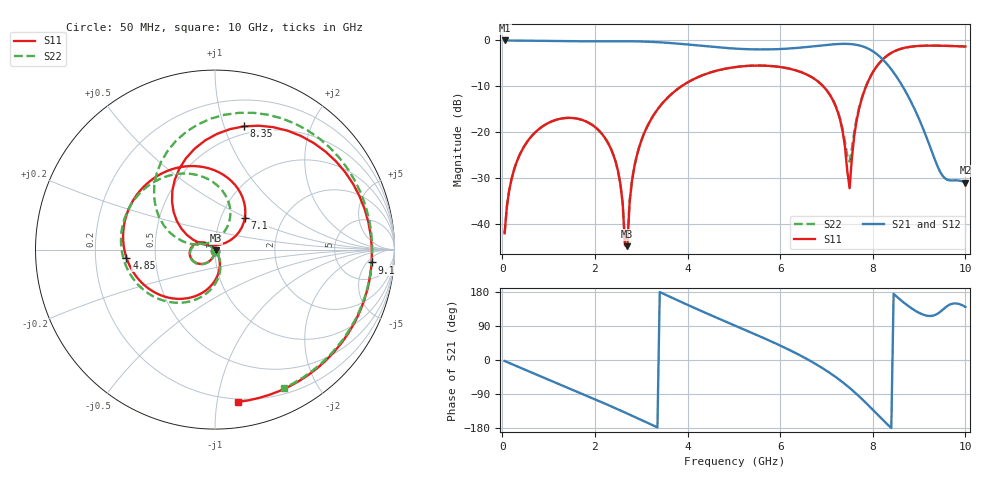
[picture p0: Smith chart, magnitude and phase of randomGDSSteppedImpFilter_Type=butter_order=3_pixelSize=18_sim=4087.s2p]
! freq	dB(S11)	phase(S11)	dB(S12)	phase(S12)
!  dB(S21)	phase(S21)	dB(S22)	phase(S22)
!S-par simulation data
#  GHz  S  DB  R 50
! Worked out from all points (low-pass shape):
!   200 points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, 50 MHz to 10 GHz, reference 50 ohm
!   highest |S21| = 0.00 dB at 50 MHz (marker M1); lowest = -31.0 dB at 10 GHz (marker M2)
!   |S21| within 3 dB of the highest: start of sweep to 8.09 GHz
!   lowest |S11| = -44.8 dB at 2.7 GHz (marker M3), VSWR 1.01, Z = 50.5 - j0.355 ohm
!   |S11| at or under -10 dB: start of sweep to 3.868 GHz; 6.929 GHz to 7.855 GHz (925.5 MHz wide, 12.5 % of centre)
!   |S22| runs from -44.2 to -1.1 dB; largest |S21 - S12| = 0
!   S11 on the Smith chart (normalised r, x): 50 MHz: 1.00, -0.02; 4.85 GHz: 0.34, -0.04; 7.1 GHz: 1.30, +0.49; 8.35 GHz: 0.43, +1.17; 9.1 GHz: 11, -7; 10 GHz: 0.18, -1.15
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0.05  -42.02 -91.3  -0.00 -2.7  -0.00 -2.7  -42.03 -91.5
0.2  -30.19 -100.5  -0.02 -10.5  -0.02 -10.5  -30.19 -100.2
0.55  -21.91 -119.6  -0.07 -28.7  -0.07 -28.7  -21.91 -118.8
1.75  -17.42 177.1  -0.18 -90.6  -0.18 -90.6  -17.43 -179.6
2.4  -24.97 141.5  -0.16 -125.0  -0.16 -125.0  -25.00 148.4
2.7  -44.84 -37.8  -0.17 -141.4  -0.17 -141.4  -43.43 -81.8
2.75  -35.24 -53.4  -0.18 -144.2  -0.18 -144.2  -34.96 -62.5
2.9  -25.31 -64.3  -0.20 -152.5  -0.20 -152.5  -25.24 -64.4
3.4  -14.40 -93.8  -0.40 179.2  -0.40 179.2  -14.38 -89.8
4.85  -6.10 -174.7  -1.66 99.9  -1.66 99.9  -6.09 -165.8
5.05  -5.78 174.5  -1.80 89.4  -1.80 89.4  -5.77 -175.8
5.9  -5.67 127.5  -1.91 43.9  -1.91 43.9  -5.66 141.1
6.7  -8.12 76.6  -1.31 -5.7  -1.31 -5.7  -8.11 95.3
7.1  -12.31 46.7  -0.89 -36.4  -0.89 -36.4  -12.25 69.9
7.35  -19.86 31.2  -0.75 -58.7  -0.75 -58.7  -19.32 62.7
7.5  -32.20 111.6  -0.78 -73.6  -0.78 -73.6  -26.40 123.5
7.75  -13.13 148.1  -1.20 -101.0  -1.20 -101.0  -12.97 163.1
8.35  -3.03 76.7  -5.66 -173.8  -5.66 -173.8  -3.05 97.8
8.7  -1.57 36.0  -10.97 148.6  -10.97 148.6  -1.60 57.5
9.1  -1.15 -4.7  -19.55 119.2  -19.55 119.2  -1.17 16.0
9.5  -1.16 -40.7  -29.39 131.7  -29.39 131.7  -1.16 -21.4
10  -1.33 -81.3  -30.97 140.0  -30.97 140.0  -1.29 -63.5
